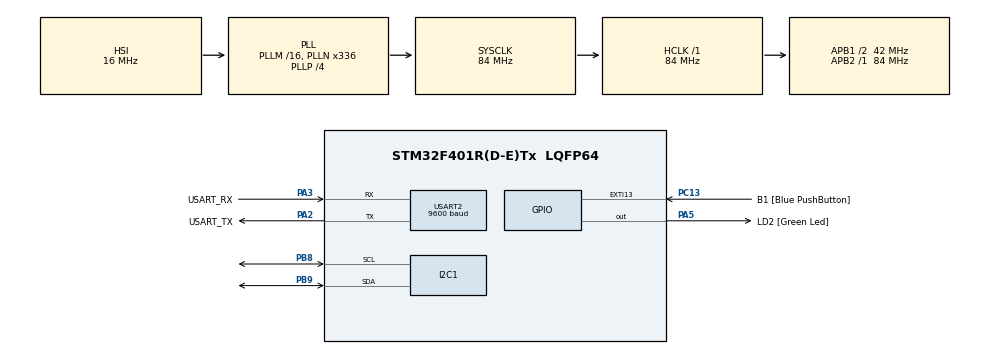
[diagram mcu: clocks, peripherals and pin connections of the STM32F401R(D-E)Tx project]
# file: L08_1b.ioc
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Dma.Request0=USART2_TX
Dma.USART2_TX.0.Direction=DMA_MEMORY_TO_PERIPH
Dma.USART2_TX.0.FIFOMode=DMA_FIFOMODE_DISABLE
Dma.USART2_TX.0.Instance=DMA1_Stream6
Dma.USART2_TX.0.MemDataAlignment=DMA_MDATAALIGN_BYTE
Dma.USART2_TX.0.MemInc=DMA_MINC_ENABLE
Dma.USART2_TX.0.Mode=DMA_NORMAL
Dma.USART2_TX.0.PeriphDataAlignment=DMA_PDATAALIGN_BYTE
Dma.USART2_TX.0.PeriphInc=DMA_PINC_DISABLE
Dma.USART2_TX.0.Priority=DMA_PRIORITY_LOW
Mcu.Family=STM32F4
Mcu.Name=STM32F401R(D-E)Tx
Mcu.Package=LQFP64
NVIC.DMA1_Stream6_IRQn=true\:1\:0\:true\:false\:true\:false\:true\:true
NVIC.PriorityGroup=NVIC_PRIORITYGROUP_1
NVIC.TIM3_IRQn=true\:0\:0\:false\:false\:true\:true\:true\:true
NVIC.USART2_IRQn=true\:0\:0\:false\:false\:true\:true\:true\:true
PA13.GPIO_Label=TMS
PA13.Mode=Serial_Wire
PA13.Signal=SYS_JTMS-SWDIO
PA14.GPIO_Label=TCK
PA14.Mode=Serial_Wire
PA14.Signal=SYS_JTCK-SWCLK
PA2.GPIO_Label=USART_TX
PA2.GPIO_Mode=GPIO_MODE_AF_PP
PA2.GPIO_PuPd=GPIO_NOPULL
PA2.GPIO_Speed=GPIO_SPEED_FREQ_LOW
PA2.Mode=Asynchronous
PA2.Signal=USART2_TX
PA3.GPIO_Label=USART_RX
PA3.GPIO_Mode=GPIO_MODE_AF_PP
PA3.GPIO_PuPd=GPIO_NOPULL
PA3.GPIO_Speed=GPIO_SPEED_FREQ_LOW
PA3.Mode=Asynchronous
PA3.Signal=USART2_RX
PA5.GPIO_Label=LD2 [Green Led]
PA5.GPIO_Mode=GPIO_MODE_OUTPUT_PP
PA5.GPIO_PuPd=GPIO_NOPULL
PA5.GPIO_Speed=GPIO_SPEED_FREQ_LOW
PA5.Signal=GPIO_Output
PB3.GPIO_Label=SWO
PB3.Signal=SYS_JTDO-SWO
PB8.Mode=I2C
PB8.Signal=I2C1_SCL
PB9.Mode=I2C
PB9.Signal=I2C1_SDA
PC13-ANTI_TAMP.GPIO_Label=B1 [Blue PushButton]
PC13-ANTI_TAMP.GPIO_ModeDefaultEXTI=GPIO_MODE_IT_FALLING
PC13-ANTI_TAMP.GPIO_PuPd=GPIO_NOPULL
PC13-ANTI_TAMP.Signal=GPXTI13
PC14-OSC32_IN.Mode=LSE-External-Oscillator
PC14-OSC32_IN.Signal=RCC_OSC32_IN
PC15-OSC32_OUT.Mode=LSE-External-Oscillator
PC15-OSC32_OUT.Signal=RCC_OSC32_OUT
PH0\ -\ OSC_IN.Mode=HSE-External-Clock-Source
PH0\ -\ OSC_IN.Signal=RCC_OSC_IN
PH1\ -\ OSC_OUT.Mode=HSE-External-Clock-Source
PH1\ -\ OSC_OUT.Signal=RCC_OSC_OUT
ProjectManager.HeapSize=0x200
ProjectManager.StackSize=0x400
ProjectManager.TargetToolchain=STM32CubeIDE
RCC.48MHZClocksFreq_Value=48000000
RCC.AHBFreq_Value=84000000
RCC.APB1CLKDivider=RCC_HCLK_DIV2
RCC.APB1Freq_Value=42000000
RCC.APB1TimFreq_Value=84000000
RCC.APB2Freq_Value=84000000
RCC.APB2TimFreq_Value=84000000
RCC.CortexFreq_Value=84000000
RCC.HCLKFreq_Value=84000000
RCC.HSE_VALUE=8000000
RCC.HSI_VALUE=16000000
RCC.PLLN=336
RCC.PLLP=RCC_PLLP_DIV4
RCC.PLLQ=7
RCC.SYSCLKFreq_VALUE=84000000
RCC.SYSCLKSource=RCC_SYSCLKSOURCE_PLLCLK
RCC.VCOOutputFreq_Value=336000000
TIM3.Period=9999
TIM3.Prescaler=8399
USART2.BaudRate=9600
USART2.VirtualMode=VM_ASYNC
VP_TIM3_VS_ClockSourceINT.Mode=Internal
board=NUCLEO-F401RE

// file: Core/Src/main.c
/* USER CODE BEGIN Header */
/**
  ******************************************************************************
  * @file           : main.c
  * @brief          : Main program body
  ******************************************************************************
  * @attention
  *
  * Copyright (c) 2024 STMicroelectronics.
  * All rights reserved.
  *
  * This software is licensed under terms that can be found in the LICENSE file
  * in the root directory of this software component.
  * If no LICENSE file comes with this software, it is provided AS-IS.
  *
  ******************************************************************************
  */
/* USER CODE END Header */
#include "main.h"

/* USER CODE BEGIN Includes */
#include <stdio.h>
/* USER CODE END Includes */

I2C_HandleTypeDef hi2c1;

TIM_HandleTypeDef htim3;

UART_HandleTypeDef huart2;
DMA_HandleTypeDef hdma_usart2_tx;

void SystemClock_Config(void);
static void MX_GPIO_Init(void);
static void MX_DMA_Init(void);
static void MX_USART2_UART_Init(void);
static void MX_I2C1_Init(void);
static void MX_TIM3_Init(void);

/* USER CODE BEGIN 0 */
uint16_t address = 0b01010000;			// write address of LIS2DE; accelerometer of my board
uint16_t LIS2DE12_address = 0b0011000;	// write address of LIS2DE12
uint8_t ctrl_reg1[] = {0x20, 0b00010111};	// address of ctrl_reg1 and byte to configure it
uint8_t OUT_X = 0x29;			// address of x axis acceleration register
uint8_t OUT_Y = 0x2B;			// address of y axis acceleration register
uint8_t OUT_Z = 0x2D;			// address of z axis acceleration register
char string[128];				// string to be transmitted through UART
int length;						// length of string
/* USER CODE END 0 */

int main(void)
{

  /* MCU Configuration--------------------------------------------------------*/

  /* Reset of all peripherals, Initializes the Flash interface and the Systick. */
  HAL_Init();

  /* Configure the system clock */
  SystemClock_Config();

  /* Initialize all configured peripherals */
  MX_GPIO_Init();
  MX_DMA_Init();
  MX_USART2_UART_Init();
  MX_I2C1_Init();
  MX_TIM3_Init();
  /* USER CODE BEGIN 2 */
  if (HAL_I2C_Master_Transmit(&hi2c1, LIS2DE12_address, ctrl_reg1, 2, 50) == HAL_OK) {
	  address = LIS2DE12_address;	// change address for rest of the code if different accelerometer
  } else {
	  HAL_I2C_Master_Transmit(&hi2c1, address, ctrl_reg1, 2, 50);
  }

  HAL_TIM_Base_Start_IT(&htim3);
  /* USER CODE END 2 */

  /* Infinite loop */
  while (1)
  {

  }
}

void SystemClock_Config(void)
{
  RCC_OscInitTypeDef RCC_OscInitStruct = {0};
  RCC_ClkInitTypeDef RCC_ClkInitStruct = {0};

  /** Configure the main internal regulator output voltage
  */
  __HAL_RCC_PWR_CLK_ENABLE();
  __HAL_PWR_VOLTAGESCALING_CONFIG(PWR_REGULATOR_VOLTAGE_SCALE2);

  /** Initializes the RCC Oscillators according to the specified parameters
  * in the RCC_OscInitTypeDef structure.
  */
  RCC_OscInitStruct.OscillatorType = RCC_OSCILLATORTYPE_HSI;
  RCC_OscInitStruct.HSIState = RCC_HSI_ON;
  RCC_OscInitStruct.HSICalibrationValue = RCC_HSICALIBRATION_DEFAULT;
  RCC_OscInitStruct.PLL.PLLState = RCC_PLL_ON;
  RCC_OscInitStruct.PLL.PLLSource = RCC_PLLSOURCE_HSI;
  RCC_OscInitStruct.PLL.PLLM = 16;
  RCC_OscInitStruct.PLL.PLLN = 336;
  RCC_OscInitStruct.PLL.PLLP = RCC_PLLP_DIV4;
  RCC_OscInitStruct.PLL.PLLQ = 7;
  if (HAL_RCC_OscConfig(&RCC_OscInitStruct) != HAL_OK)
  {
    Error_Handler();
  }

  /** Initializes the CPU, AHB and APB buses clocks
  */
  RCC_ClkInitStruct.ClockType = RCC_CLOCKTYPE_HCLK|RCC_CLOCKTYPE_SYSCLK
                              |RCC_CLOCKTYPE_PCLK1|RCC_CLOCKTYPE_PCLK2;
  RCC_ClkInitStruct.SYSCLKSource = RCC_SYSCLKSOURCE_PLLCLK;
  RCC_ClkInitStruct.AHBCLKDivider = RCC_SYSCLK_DIV1;
  RCC_ClkInitStruct.APB1CLKDivider = RCC_HCLK_DIV2;
  RCC_ClkInitStruct.APB2CLKDivider = RCC_HCLK_DIV1;

  if (HAL_RCC_ClockConfig(&RCC_ClkInitStruct, FLASH_LATENCY_2) != HAL_OK)
  {
    Error_Handler();
  }
}

static void MX_I2C1_Init(void)
{

  hi2c1.Instance = I2C1;
  hi2c1.Init.ClockSpeed = 100000;
  hi2c1.Init.DutyCycle = I2C_DUTYCYCLE_2;
  hi2c1.Init.OwnAddress1 = 0;
  hi2c1.Init.AddressingMode = I2C_ADDRESSINGMODE_7BIT;
  hi2c1.Init.DualAddressMode = I2C_DUALADDRESS_DISABLE;
  hi2c1.Init.OwnAddress2 = 0;
  hi2c1.Init.GeneralCallMode = I2C_GENERALCALL_DISABLE;
  hi2c1.Init.NoStretchMode = I2C_NOSTRETCH_DISABLE;
  if (HAL_I2C_Init(&hi2c1) != HAL_OK)
  {
    Error_Handler();
  }

}

static void MX_TIM3_Init(void)
{

  TIM_ClockConfigTypeDef sClockSourceConfig = {0};
  TIM_MasterConfigTypeDef sMasterConfig = {0};

  htim3.Instance = TIM3;
  htim3.Init.Prescaler = 8399;
  htim3.Init.CounterMode = TIM_COUNTERMODE_UP;
  htim3.Init.Period = 9999;
  htim3.Init.ClockDivision = TIM_CLOCKDIVISION_DIV1;
  htim3.Init.AutoReloadPreload = TIM_AUTORELOAD_PRELOAD_DISABLE;
  if (HAL_TIM_Base_Init(&htim3) != HAL_OK)
  {
    Error_Handler();
  }
  sClockSourceConfig.ClockSource = TIM_CLOCKSOURCE_INTERNAL;
  if (HAL_TIM_ConfigClockSource(&htim3, &sClockSourceConfig) != HAL_OK)
  {
    Error_Handler();
  }
  sMasterConfig.MasterOutputTrigger = TIM_TRGO_RESET;
  sMasterConfig.MasterSlaveMode = TIM_MASTERSLAVEMODE_DISABLE;
  if (HAL_TIMEx_MasterConfigSynchronization(&htim3, &sMasterConfig) != HAL_OK)
  {
    Error_Handler();
  }

}

static void MX_USART2_UART_Init(void)
{

  huart2.Instance = USART2;
  huart2.Init.BaudRate = 9600;
  huart2.Init.WordLength = UART_WORDLENGTH_8B;
  huart2.Init.StopBits = UART_STOPBITS_1;
  huart2.Init.Parity = UART_PARITY_NONE;
  huart2.Init.Mode = UART_MODE_TX_RX;
  huart2.Init.HwFlowCtl = UART_HWCONTROL_NONE;
  huart2.Init.OverSampling = UART_OVERSAMPLING_16;
  if (HAL_UART_Init(&huart2) != HAL_OK)
  {
    Error_Handler();
  }

}

static void MX_DMA_Init(void)
{

  /* DMA controller clock enable */
  __HAL_RCC_DMA1_CLK_ENABLE();

  /* DMA interrupt init */
  /* DMA1_Stream6_IRQn interrupt configuration */
  HAL_NVIC_SetPriority(DMA1_Stream6_IRQn, 1, 0);
  HAL_NVIC_EnableIRQ(DMA1_Stream6_IRQn);

}

static void MX_GPIO_Init(void)
{
  GPIO_InitTypeDef GPIO_InitStruct = {0};

  /* GPIO Ports Clock Enable */
  __HAL_RCC_GPIOC_CLK_ENABLE();
  __HAL_RCC_GPIOH_CLK_ENABLE();
  __HAL_RCC_GPIOA_CLK_ENABLE();
  __HAL_RCC_GPIOB_CLK_ENABLE();

  /*Configure GPIO pin Output Level */
  HAL_GPIO_WritePin(LD2_GPIO_Port, LD2_Pin, GPIO_PIN_RESET);

  /*Configure GPIO pin : B1_Pin */
  GPIO_InitStruct.Pin = B1_Pin;
  GPIO_InitStruct.Mode = GPIO_MODE_IT_FALLING;
  GPIO_InitStruct.Pull = GPIO_NOPULL;
  HAL_GPIO_Init(B1_GPIO_Port, &GPIO_InitStruct);

  /*Configure GPIO pin : LD2_Pin */
  GPIO_InitStruct.Pin = LD2_Pin;
  GPIO_InitStruct.Mode = GPIO_MODE_OUTPUT_PP;
  GPIO_InitStruct.Pull = GPIO_NOPULL;
  GPIO_InitStruct.Speed = GPIO_SPEED_FREQ_LOW;
  HAL_GPIO_Init(LD2_GPIO_Port, &GPIO_InitStruct);

}

/* USER CODE BEGIN 4 */
void HAL_TIM_PeriodElapsedCallback(TIM_HandleTypeDef *htim) {
	if (htim->Instance == TIM3) {
		int8_t x_acc, y_acc, z_acc;
		float x_g_acc, y_g_acc, z_g_acc;
		HAL_I2C_Mem_Read(&hi2c1, address, &OUT_X, 1, &x_acc, 1, 50);
		HAL_I2C_Mem_Read(&hi2c1, address, &OUT_Y, 1, &y_acc, 1, 50);
		HAL_I2C_Mem_Read(&hi2c1, address, &OUT_Z, 1, &z_acc, 1, 50);

		x_g_acc = x_acc/64.0;
		y_g_acc = y_acc/64.0;
		z_g_acc = z_acc/64.0;
		length = snprintf(string, sizeof(string),
				"X: %.2f g\nY: %.2f g\nZ: %.2f g\n", x_g_acc, y_g_acc, z_g_acc);
		HAL_UART_Transmit_DMA(&huart2, string, length);
	}
}
/* USER CODE END 4 */

void Error_Handler(void)
{
  __disable_irq();
  while (1)
  {
  }
}
